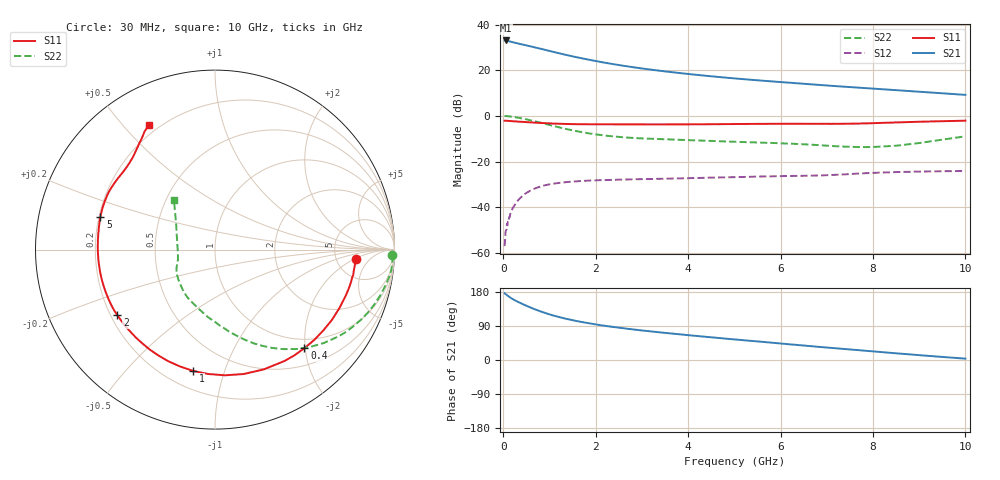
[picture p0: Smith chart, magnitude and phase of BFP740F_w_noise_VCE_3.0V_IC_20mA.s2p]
! Infineon Technologies  Discrete & RF Semiconductors
! BFP740F
! VCE =  3.0 V,  IC =  20 mA
! Common Emitter S-Parameters:  Oct 2012
# GHz  S  MA  R  50
!  f  S11  S21  S12  S22
! GHz  MAG  ANG  MAG  ANG  MAG  ANG  MAG  ANG
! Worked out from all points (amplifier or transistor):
!   99 points, 30 MHz to 10 GHz, reference 50 ohm
!   highest |S21| = 33.1 dB at 50 MHz (marker M1)
!   |S21| within 3 dB of that: start of sweep to 677.7 MHz
!   unconditionally stable (mu >= 1): 5.893 GHz to end of sweep
!   at 350 MHz: K = 0.14, MSG = 33.9 dB, |S12| = -36.3 dB
!   at 3.5 GHz: K = 0.68, MSG = 23.5 dB, |S12| = -27.5 dB
!   at 10 GHz: K = 1.20, MAG = 13.9 dB, |S12| = -24.1 dB
!   lowest NFmin = 0.64 dB at 450 MHz
!   S11 on the Smith chart (normalised r, x): 30 MHz: 7.73, -2.10; 400 MHz: 0.81, -1.98; 1 GHz: 0.31, -0.79; 2 GHz: 0.23, -0.29; 5 GHz: 0.21, +0.13; 10 GHz: 0.16, +0.59
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0.03  0.7851 -3.8  44.96 176.0  0.0014 81.1  0.989 -1.9
0.05  0.784 -6.3  45 174.2  0.0029 104.1  0.9903 -3.6
0.11  0.7783 -14.2  43.65 168.4  0.0047 83.8  0.9826 -8.8
0.2  0.766 -25.2  41.35 161.2  0.0093 77.5  0.9551 -15.6
0.3  0.7531 -36.7  39.05 154.6  0.0133 71.8  0.9207 -22.5
0.4  0.7415 -47.8  37.02 148.7  0.017 67.3  0.8819 -28.9
0.6  0.7206 -67.9  33.26 138.0  0.0235 57.9  0.7995 -40.6
0.7  0.7114 -77.0  31.47 133.1  0.0261 53.6  0.7565 -45.9
0.8  0.7026 -85.5  29.75 128.6  0.0282 50.1  0.7141 -50.9
1  0.6868 -100.3  26.54 120.5  0.0317 44.1  0.634 -59.8
1.3  0.6687 -118.3  22.44 110.5  0.0349 37.0  0.534 -71.1
1.5  0.661 -127.9  20.19 105.1  0.0364 33.8  0.4824 -77.5
1.7  0.657 -136.0  18.29 100.3  0.0375 31.1  0.4403 -83.4
2  0.6554 -146.1  15.98 94.0  0.0388 28.0  0.394 -91.9
2.3  0.6543 -154.3  14.07 88.5  0.0396 25.9  0.3624 -99.6
2.7  0.6526 -163.0  12.12 82.2  0.0405 24.2  0.3347 -107.6
3.4  0.652 -174.9  9.727 72.8  0.0419 22.5  0.3103 -118.5
5  0.6638 164.1  6.643 54.4  0.0455 21.3  0.2714 -136.0
5.1  0.6653 163.0  6.512 53.3  0.0458 21.3  0.2694 -137.2
6.7  0.671 145.1  4.887 36.1  0.0493 21.4  0.2331 -156.1
8.5  0.7194 126.5  3.666 17.7  0.0588 19.6  0.2223 162.7
10  0.7853 118.0  2.89 3.6  0.0621 14.9  0.3574 129.8
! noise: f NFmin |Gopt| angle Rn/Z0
0.45  0.64  0.06  8  1.06
0.9  0.67  0.07  22  0.67
1.5  0.72  0.07  40  0.48
1.9  0.75  0.07  56  0.4
2.4  0.8  0.07  74  0.41
3.5  0.9  0.06  94  0.37
5.5  1.08  0.09  -158  0.31
10  1.47  0.39  -107  0.12
